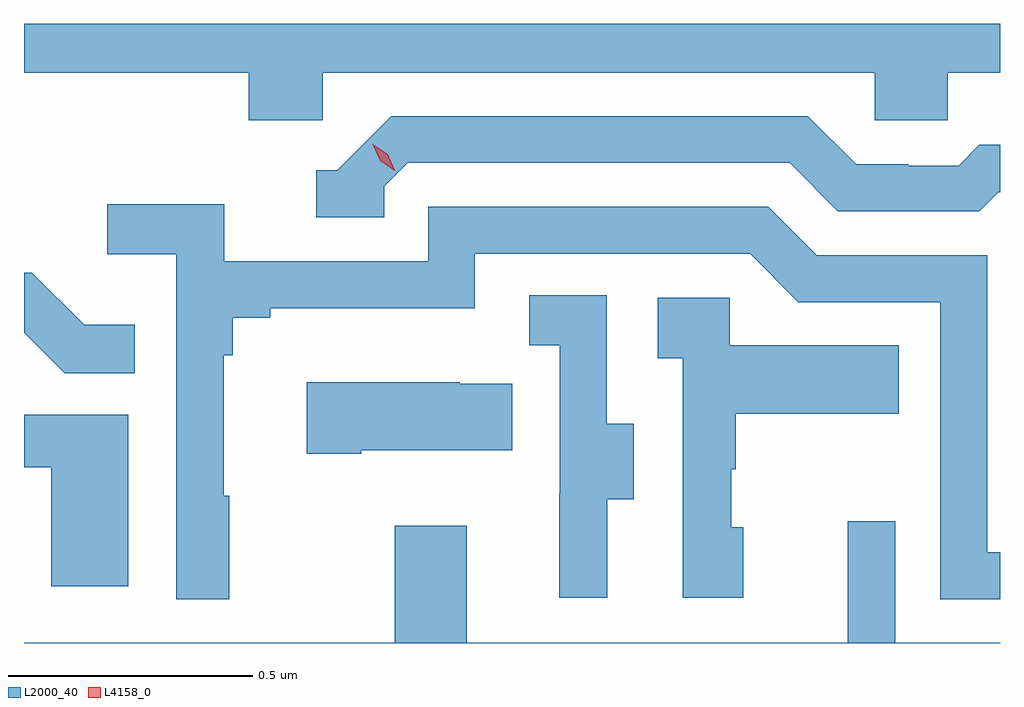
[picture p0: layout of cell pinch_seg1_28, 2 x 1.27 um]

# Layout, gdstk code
import gdstk
lib = gdstk.Library(unit=1e-6, precision=1e-09)
def P(c, l, *ps):  # polygons
    for p in ps: c.add(gdstk.Polygon(p, *l))
L2000_40 = (2000, 40)
L4158_0 = (4158, 0)

pinch_seg1_28 = lib.new_cell('pinch_seg1_28')
P(pinch_seg1_28, L2000_40, [(1081.428,583.7),(1082.559,583.7),(1082.559,583.602),(1082.709,583.602),(1082.709,583.7),(1082.816,583.7),(1082.816,583.8),(1080.816,583.8),(1080.816,583.7),(1081.277,583.7),(1081.277,583.602),(1081.428,583.602)],
  [(1081.554,583.467),(1081.602,583.515),(1082.385,583.515),(1082.484,583.416),(1082.773,583.416),(1082.812,583.455),(1082.816,583.455),(1082.816,583.552),(1082.773,583.552),(1082.731,583.509),(1082.628,583.509),(1082.628,583.512),(1082.521,583.512),(1082.422,583.611),(1081.569,583.611),(1081.458,583.5),(1081.415,583.5),(1081.415,583.404),(1081.554,583.404)],
  [(1081.237,582.833),(1081.225,582.833),(1081.225,583.121),(1081.244,583.121),(1081.244,583.198),(1081.321,583.198),(1081.321,583.217),(1081.74,583.217),(1081.74,583.329),(1082.304,583.329),(1082.403,583.23),(1082.694,583.23),(1082.694,582.621),(1082.816,582.621),(1082.816,582.717),(1082.79,582.717),(1082.79,583.326),(1082.44,583.326),(1082.341,583.425),(1081.644,583.425),(1081.644,583.314),(1081.226,583.314),(1081.226,583.43),(1080.987,583.43),(1080.987,583.328),(1081.128,583.328),(1081.128,582.621),(1081.237,582.621)],
  [(1081.043,583.183),(1080.939,583.183),(1080.832,583.29),(1080.816,583.29),(1080.816,583.167),(1080.899,583.084),(1081.043,583.084)],
  [(1082.011,582.826),(1082.065,582.826),(1082.065,582.981),(1082.01,582.981),(1082.01,583.244),(1081.851,583.244),(1081.851,583.141),(1081.914,583.141),(1081.914,582.837),(1081.913,582.837),(1081.913,582.624),(1082.011,582.624)],
  [(1082.29,582.768),(1082.265,582.768),(1082.265,582.887),(1082.275,582.887),(1082.275,583.001),(1082.609,583.001),(1082.609,583.141),(1082.262,583.141),(1082.262,583.239),(1082.115,583.239),(1082.115,583.115),(1082.166,583.115),(1082.166,582.624),(1082.29,582.624)],
  [(1081.507,582.926),(1081.817,582.926),(1081.817,583.063),(1081.709,583.063),(1081.709,583.066),(1081.395,583.066),(1081.395,582.919),(1081.507,582.919)],
  [(1081.03,582.999),(1080.816,582.999),(1080.816,582.891),(1080.872,582.891),(1080.872,582.648),(1081.03,582.648)],
  [(1082.816,582.532),(1082.601,582.532),(1082.601,582.781),(1082.504,582.781),(1082.504,582.532),(1081.723,582.532),(1081.723,582.772),(1081.576,582.772),(1081.576,582.532),(1080.816,582.532),(1080.816,582.531),(1082.816,582.531)])
P(pinch_seg1_28, L4158_0, [(1081.576,583.499),(1081.546,583.52),(1081.531,583.553),(1081.531,583.553),(1081.531,583.553),(1081.561,583.533),(1081.576,583.5),(1081.576,583.499)])

lib.write_gds('pinch_seg1_28.gds')
